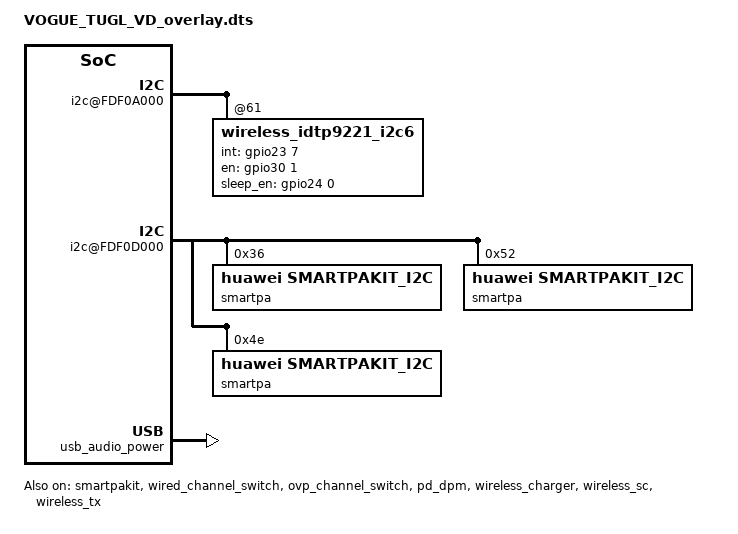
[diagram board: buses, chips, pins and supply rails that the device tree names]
/**
 * Copyright (C) 2014 Hisilicon Ltd.
 *
 *  This program is free software; you can redistribute it and/or modify
 *  it under the terms of the GNU General Public License version 2 as
 *  publishhed by the Free Software Foundation.
 */

/dts-v1/;
/plugin/;
/include/ "desayatl_4100_snYA_4400_48.dtsi"
/include/ "desayatl_4100_snYT_4400_48.dtsi"
/include/ "scudmurata_4100_snCS_4400_64.dtsi"
/include/ "scudmurata_4100_snCZ_4400_64.dtsi"
/include/ "VOGUE_TUGL_VC_SKY_overlay.dtsi"
/include/ "VOGUE_TUGL_VD_pin.dtsi"
/include/ "VOGUE_TUGL_VD_modem_pin.dtsi"

/ {
    board_id = <8514>;
};
    &rootparam{
		compatible = "hisilicon,vendor";
		hisi,boardid = <8 5 1 4>;
		hisi,boardname = "VOGUE_TUGL_VD";
		hisi,modem_id = <0x37053400>;
		hisi,product_id = <0x37053400>;
		hisi,product_name = "VOG-AL00";
	};

	&amba {
		i2c@FDF0A000 {
			status = "ok";
			wireless_idtp9221_i2c6@61 {
				gpio_int = <&gpio23 7 0>;
				gpio_en = <&gpio30 1 0>;
				gpio_en_valid_val = <1>;
				gpio_sleep_en = <&gpio24 0 0>;
				rx_fod_5v =  <0x10c0 0x109a 0x1096 0x1098 0x1098 0x1298 0x1414 0>;
				rx_fod_9v =  <0x2d96 0x2d88 0x2888 0x2886 0x2387 0x2387 0 0>;
				rx_fod_12v = <0x2d96 0x2d88 0x2888 0x2886 0x1986 0x1986 0 0>;
				latest_otp_version = "0x88 0x66 0x03 0x0f";
				sc_rx_vrmax_gap = <150>;
				tx_fod_th_5v = <1500>;
				rx_ss_good_lth = <100>;
				status = "ok";
			};
		};
		i2c@FDF0D000 {
			smartpa@36{
				compatible = "huawei,smartpakit_i2c";
				reg = <0x36>;
				/* 0 MAXIM, 1 NXP, 2 TI, 3 OTHER, 4:huawei customize */
				chip_vendor = <4>;
				/* refer to smartpakit.out_device prop */
				chip_id = <1>;
				chip_model = "tfa9874";
				status = "ok";

				/* reg_ctl node: a node contains three data<addr value ctl_type>
				 * ctl_type: 0 read reg(default), 1 write reg, 2 only time delay
				 * value:
				 *     read:  reg number(num >= 1)
				 *     write: reg value
				 *     delay: time delay
				 * time delay unit: msecs */
				version_regs = <0x03 1 0>;
				dump_regs = <0 256 0>;
				hw_reset {
					gpio_reset = <&gpio28 4 0>;
					/* gpio_state node: a node contains two data<state delay>
					 * time delay unit: msecs */
					ctl_sequence = <1 1 0 1>;
				};
				irq_handler {
					gpio_irq = <&gpio28 5 0>;
					/* 0x0 IRQF_TRIGGER_NONE, 0x1 IRQF_TRIGGER_RISING, 0x2 IRQF_TRIGGER_FALLING, 0x4 IRQF_TRIGGER_HIGH, 0x8 IRQF_TRIGGER_LOW*/
					irq_flags = <2>;
					/* whether or not need reset chip*/
					need_reset;
					rw_sequence = <
						0x10 1 0
						0x11 1 0
						0x13 1 0
						0x14 1 0
						0x40 1 0
						0x41 1 0
						0x42 1 0
					>;
				};

				regmap_cfg {
					reg_bits = <8>;
					val_bits = <16>;
					/* 0 REGCACHE_NONE, 1 REGCACHE_RBTREE, 2 REGCACHE_COMPRESSED, 3 REGCACHE_FLAT */
					cache_type = <0>;
					max_register = <0xff>;
					reg_defaults = <
						0x00 0x1801
						0x01 0x0014
					>;
				};
			};

			smartpa@52{
				compatible = "huawei,smartpakit_i2c";
				reg = <0x52>;
				/* 0 MAXIM, 1 NXP, 2 TI, 3 OTHER, 4:huawei customize */
				chip_vendor = <4>;
				/* refer to smartpakit.out_device prop */
				chip_id = <1>;
				chip_model = "cs35l36";
				status = "ok";

				/* reg_ctl node: a node contains three data<addr value ctl_type>
				* ctl_type: 0 read reg(default), 1 write reg, 2 only time delay
				* value:
				*     read:  reg number(num >= 1)
				*     write: reg value
				*     delay: time delay
				* time delay unit: msecs */
				version_regs = <0x0 1 0>;
				dump_regs = <
					0x000000 1          0
					0x000008 1          0
					0x002014 0x21       0
					0x002400 1          0
					0x002c04 0xd        0
					0x003800 0x31       0
					0x004004 1          0
					0x004220 1          0
					0x004300 1          0
					0x004800 0x3d       0
					0x004C00 1          0
					0x004C20 0x15       0
					0x006000 1          0
					0x006404 0x11       0
					0x006450 1          0
					0x006800 0x9        0
					0x006C04 1          0
					0xd00000 0x4d       0
					0xe02800 1          0>;

				hw_reset {
					gpio_reset = <&gpio28 4 0>;
					/* gpio_state node: a node contains two data<state delay>
					* time delay unit: msecs */
					ctl_sequence = <1 1 0 1>;
				};

				irq_handler {
					gpio_irq = <&gpio28 5 0>;
					/* 0x0 IRQF_TRIGGER_NONE, 0x1 IRQF_TRIGGER_RISING, 0x2 IRQF_TRIGGER_FALLING, 0x4 IRQF_TRIGGER_HIGH, 0x8 IRQF_TRIGGER_LOW*/
					irq_flags = <2>;
					/* whether or not need reset chip*/
					need_reset;
					rw_sequence = <
						0xd00020 1          0
						0xd00024 1          0
						0xd00028 1          0
						0xd0002c 1          0
						0xd00000 0xffffffff 1
						0xd00004 0xffffffff 1
						0xd00008 0xffffffff 1
						0xd0000c 0xffffffff 1
					>;
				};

				regmap_cfg {
					reg_bits = <32>;
					val_bits = <32>;
					/* 0 REGCACHE_NONE, 1 REGCACHE_RBTREE, 2 REGCACHE_COMPRESSED, 3 REGCACHE_FLAT */
					cache_type = <0>;
					max_register = <0xe0ffff>;
				};
			};

			smartpa@4E{
				compatible = "huawei,smartpakit_i2c";
				reg = <0x4E>;
				/* 0 MAXIM, 1 NXP, 2 TI, 3 OTHER, 4:huawei customize */
				chip_vendor = <4>;
				/* refer to smartpakit.out_device prop */
				chip_id = <1>;
				chip_model = "tas2562";
				/* maybe trigger one irq after some chip reset, ext. tas2560
				* debounce wait time unit: msecs */
				reset_debounce_wait_time = <100>;
				status = "ok";

				/* reg_ctl node: a node contains three data<addr value ctl_type>
				* ctl_type: 0 read reg(default), 1 write reg, 2 only time delay
				* value:
				*     read:  reg number(num >= 1)
				*     write: reg value
				*     delay: time delay
				* time delay unit: msecs */
				version_regs = <
					0	0	1
					125	1	0
					>;
				dump_regs = <
					0	0	1
					0	128	0
					0	50	1
					0	128	0
					0	51	1
					0	128	0
					0	52	1
					0	128	0
				>;
				hw_reset {
					gpio_reset = <&gpio28 4 0>;
					/* gpio_state node: a node contains two data<state delay>
					* time delay unit: msecs */
					ctl_sequence = <0 3 1 2>;
				};

				irq_handler {
					gpio_irq = <&gpio28 5 0>;
					/* 0x0 IRQF_TRIGGER_NONE, 0x1 IRQF_TRIGGER_RISING, 0x2 IRQF_TRIGGER_FALLING, 0x4 IRQF_TRIGGER_HIGH, 0x8 IRQF_TRIGGER_LOW*/
					irq_flags = <2>;
					/* whether or not need reset chip*/
					need_reset;
					rw_sequence = <
						0	20	2
						0	0	1
						26	1	0
						27	1	0
						31	1	0
						32	1	0
						36	1	0
						37	1	0
						2	1	0
						120	1	0
					>;
				};

				regmap_cfg {
					reg_bits = <8>;
					val_bits = <8>;
					/* 0 REGCACHE_NONE, 1 REGCACHE_RBTREE, 2 REGCACHE_COMPRESSED, 3 REGCACHE_FLAT */
					cache_type = <0>;
					max_register = <128>;
				};
			};
		};
	};

	&smartpakit {
		/* 0 hisi, 1 qcom */
		soc_platform = <0>;
		/* algo running on: 0 codec_dsp, 1 soc_dsp, 2 smartpa_dsp, 3 simple pa(not smpartpa), 4 simple pa(with i2c) */
		algo_in = <1>;
		/* algo_in params need match out_device for smartpa.
		 * Now, up to only support four pa, so out_device = <0 0 0 0>;
		 * 1. This array is arranged in the following order:
		 *    <0 1 2 3>
		 *    <pril prir secl secr>
		 * 2. This array element value is 0 or 1:
		 *    smartpa: 0 speaker, 1 receiver
		 *    simple pa: out_device not applicable, only set 0 to indicate pa_num
		 * 3. The length of this array is variable, for example:
		 *    single pa: out_device = <0>;
		 *    two pa: out_device = <0 0>;
		 *    four pa: out_device = <1 1 0 0>; */
		out_device = <0 1>;
		dsp_img_name = "hifi_6405_virtual_btn_devkit.img";
		special_name_config = "smartpa_with_ep";
		status = "ok";
		switch_ctl {
			gpio_reset0 = <0>;
			gpio_reset1 = <0>;
			gpio_state_default = <1 1>;
		};
	};

    &sensorhub_ext_config {
        homo_activity = "enabled";
    }; 
	&hisi_battery {
		batt_name = <&desayatl_4100_snYA_4400_48 &desayatl_4100_snYT_4400_48 &scudmurata_4100_snCS_4400_64 &scudmurata_4100_snCZ_4400_64>;
		default_batt_id_index = <1>;
	};

	&usb_audio_power_v600 {
		compatible = "huawei,usb_audio_power_v600";
		status = "disabled";
	};

	&usb_audio_power {
		compatible = "huawei,usb_audio_power";
		gpio_type = <0>;
		gpio_one_ctrl = <1>;
		gpio_low_power_ctrl = <&gpio6 5 0>;
		status = "ok";
	};

	/*for charge begin*/
	&wired_channel_switch {
		use_ovp_cutoff_wired_channel = <1>;
		use_super_switch_cutoff_wired_channel = <0>;
		use_wireless_switch_cutoff_wired_channel = <0>;
		status = "ok";
	};
	&ovp_channel_switch {
		gpio_ovp_chsw_en = <&gpio21 1 0>;
		gpio_low_by_set_input = <0>;
		status = "ok";
	};
	&vbus_channel_boost_gpio {
		gpio_otg_switch = <&gpio31 2 0>;
		status = "ok";
	};
	&pd_dpm {
		otg_channel = <1>;
		status = "ok";
	};
	&wireless_charger {
		gpio_sw = <&gpio21 3 0>;
		hvc_need_5vbst = <1>;
		gpio_sw_valid_val = <0>;
		rx_qval = <0x3c>;
		interference_para =
			"0x01", "0xfe", "139", "5000", "5500", "475",
			"0x02", "0xfd", "-1",  "5000", "5500", "800";
		segment_para = <
			99 100 5000 5500 475
		>;
		rx_iout_ctrl_para = <
			0     80    130
			80    150   300
			150   250   400
			250   325   475
			325   450   600
			450   550   700
			550   675   825
			675   850   1000
			850   950   1100
			950   9999  1200
		>;
		rx_mode_para =
			/*This table should be arranged in ascending order of power mode priority*/
			/*mode  tx_vout  tx_iout tx_vset  rx_vset  rx_iset vrect_lth tbatt cable cert  icon time expect_mode*/
			"5W",   "5000",  "500",  "5000",  "5500",  "1000", "4650",   "-1", "-1", "-1", "0", "-1",  "3",
			"7.5W", "9000",  "1500", "9000",  "9900",  "825",  "9000",   "-1", "-1", "-1", "0", "-1",  "2",
			"10W",  "9000",  "2000", "9000",  "9900",  "1100", "9000",   "-1", "-1", "1",  "1", "-1",  "3",
			"SC",   "9000",  "2000", "9000",  "9000",  "1250", "9000",   "45", "-1", "1",  "1", "-1",  "-1",
			"15W",  "11000", "2000", "12000", "12000", "1300", "11000",  "34", "-1", "1",  "1", "180", "-1";
		tx_prop =
			"0x01", "SDP",     "0", "0", "5000", "475",
			"0x02", "CDP",     "0", "0", "5000", "1000",
			"0x03", "NON_STD", "0", "0", "5000", "1000",
			"0x04", "DCP",     "0", "0", "5000", "1000",
			"0x05", "FCP",     "0", "1", "9000", "2000",
			"0x06", "SCP",     "0", "1", "5000", "1000",
			"0x07", "PD",      "0", "1", "5000", "1000",
			"0x08", "QC",      "0", "1", "5000", "1000",
			"0x09", "OTG",     "0", "0", "5000", "475",
			"0xff", "ERR",     "0", "0", "5000", "1000";
		status = "ok";
	};
	&wireless_sc {
		need_wired_sw_on = <0>;
		rx_init_delt_vout = <200>;
		vrect_vout_diff = <600>;
		status = "ok";
	};
	&wireless_tx {
		tx_iin_limit = <0 500 300 1000 1000 0 0 0 0 1000 0 0>;
		gpio_sw = <&gpio21 2 0>;
		gpio_sw_valid_val = <1>;
		pwr_type = <1>; //1:5VBST_OTG
		status = "ok";
	};
	/*for charge end*/

	&direct_charger_sc {
		volt_para =
			"4150", "8000", "6100",
			"4250", "6100", "5200",
			"4300", "5200", "4100",
			"4400", "4100", "2000";
		volt_para1 =
			"4200", "8000", "6100",
			"4330", "6100", "5200",
			"4350", "5200", "4100",
			"4400", "4100", "2000";
		volt_para2 =
			"4150", "8000", "6100",
			"4250", "6100", "5200",
			"4300", "5200", "4100",
			"4400", "4100", "2000";
		volt_para3 =
			"4200", "8000", "6100",
			"4255", "6100", "5200",
			"4300", "5200", "4100",
			"4400", "4100", "2000";
	};
	&ds28el16 {
		check-key-page-stauts = <0>;
	};
